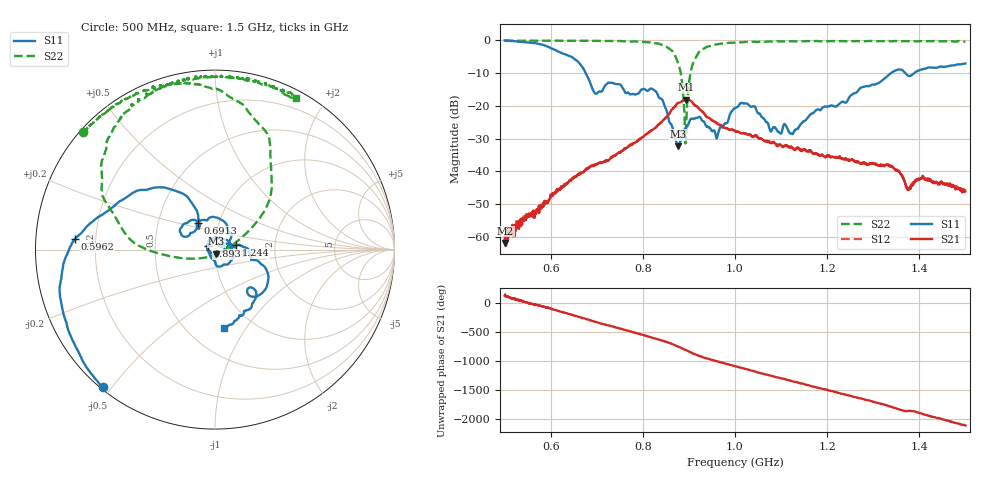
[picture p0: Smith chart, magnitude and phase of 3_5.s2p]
!Agilent Technologies,E8364B,US42250235,A.06.04.32
!Agilent E8364B: A.06.04.32
!Date: Friday, January 15, 2021 12:29:39
!Correction: S11(Full 2 Port(1,2)) S21(Full 2 Port(1,2)) S12(Full 2 Port(1,2)) S22(Full 2 Port(1,2))
!S2P File: Measurements: S11, S21, S12, S22:
# Hz S  dB  R 50
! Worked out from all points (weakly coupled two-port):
!   1601 points, 500 MHz to 1.5 GHz, reference 50 ohm
!   highest |S21| = -18.18 dB at 894.4 MHz (marker M1); lowest = -61.8 dB at 501.2 MHz (marker M2)
!   lowest |S11| = -32.4 dB at 875.6 MHz (marker M3), VSWR 1.05, Z = 50.7 - j2.31 ohm
!   |S11| at or under -10 dB: 675.7 MHz to 1.339 GHz (663.4 MHz wide, 65.9 % of centre); 1.37 GHz to 1.39 GHz (20.05 MHz wide, 1.45 % of centre)
!   |S22| runs from -31.5 to -0.1 dB; largest |S21 - S12| = 0.0077
!   S11 on the Smith chart (normalised r, x): 500 MHz: 0.01, -0.48; 596.2 MHz: 0.12, +0.04; 691.2 MHz: 0.80, +0.25; 893.1 MHz: 0.92, +0.04; 1.244 GHz: 1.27, +0.06; 1.5 GHz: 0.74, -0.80
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5e8  -0.09 -129.2  -61.26 118.5  -59.76 113.7  -0.15 138.3
5.0125e8  -0.10 -129.7  -61.78 140.9  -60.78 117.6  -0.15 138.3
5.9625e8  -2.12 175.8  -48.82 -90.4  -48.76 -95.1  -0.17 129.8
6.66875e8  -7.84 125.2  -40.41 102.0  -40.51 99.3  -0.18 122.1
6.9125e8  -15.03 121.7  -38.17 43.0  -38.38 40.4  -0.23 118.8
8.3375e8  -17.16 59.7  -25.73 86.3  -25.74 83.6  -1.05 87.8
8.75625e8  -32.36 -70.7  -19.19 -32.0  -19.25 -34.6  -6.65 47.2
8.93125e8  -26.68 153.0  -18.20 -95.7  -18.19 -98.4  -30.14 -98.9
8.94375e8  -26.44 147.4  -18.18 -100.6  -18.19 -103.4  -24.76 -134.1
9.04375e8  -23.99 118.1  -18.49 -139.2  -18.54 -142.4  -9.29 -177.9
9.20625e8  -23.50 70.2  -20.61 168.1  -20.71 165.7  -3.87 157.8
9.60625e8  -29.98 37.7  -25.43 70.0  -25.24 67.9  -1.29 132.9
1e9  -20.68 -3.1  -27.75 -13.8  -27.63 -17.4  -0.72 120.6
1.040625e9  -20.15 -69.2  -29.34 -98.2  -29.35 -103.4  -0.45 114.2
1.0775e9  -27.84 -98.8  -31.37 -177.8  -31.02 178.3  -0.40 108.2
1.121875e9  -28.49 -155.7  -32.48 92.4  -32.78 87.0  -0.33 102.4
1.166875e9  -22.35 51.2  -34.12 -3.1  -34.10 -4.9  -0.38 97.7
1.244375e9  -18.37 11.5  -36.49 -156.2  -36.39 -156.9  -0.33 89.6
1.33375e9  -10.55 -19.7  -38.28 17.4  -38.24 13.1  -0.29 81.0
1.37625e9  -10.88 -50.7  -45.14 -65.0  -45.34 -68.7  -0.32 76.4
1.408125e9  -8.81 -53.9  -41.53 -119.1  -41.95 -125.1  -0.33 73.1
1.5e9  -7.12 -83.5  -46.08 43.8  -46.17 39.7  -0.37 62.0
